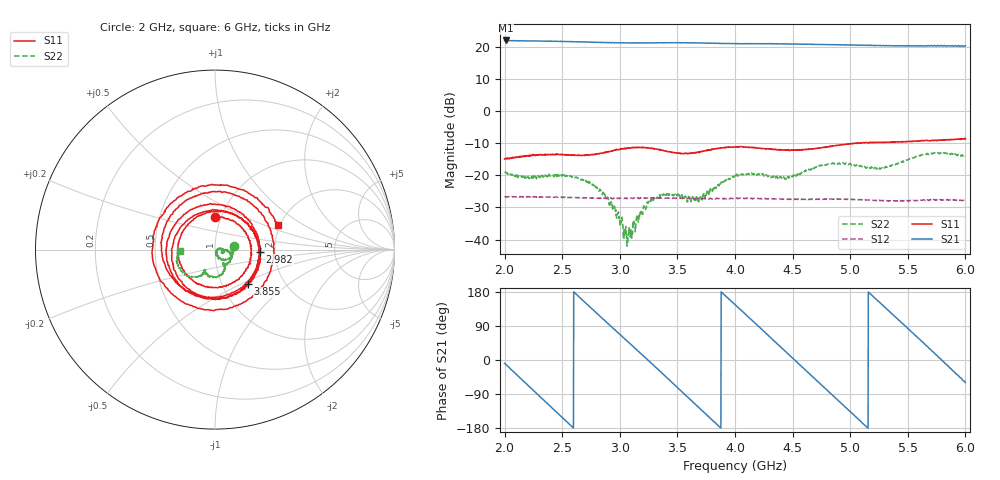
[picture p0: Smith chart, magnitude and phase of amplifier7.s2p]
#  HZ  S  DB  R  50.00
! Rohde & Schwarz ZVA24 4Ports - Version 3.60 - 1145.1110k28 SN: 101513
! Date: 2019-09-25 19:33:39
! Measurements: S33 S43 S34 S44
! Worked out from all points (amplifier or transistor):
!   1601 points, 2 GHz to 6 GHz, reference 50 ohm
!   highest |S21| = 22.1 dB at 2.01 GHz (marker M1)
!   |S21| within 3 dB of that: start of sweep to end of sweep
!   unconditionally stable (mu >= 1): start of sweep to end of sweep
!   at 2.665 GHz: K = 1.15, MAG = 22.0 dB, |S12| = -27.0 dB
!   at 4 GHz: K = 1.15, MAG = 21.8 dB, |S12| = -27.2 dB
!   at 6 GHz: K = 1.11, MAG = 22.1 dB, |S12| = -27.8 dB
!   S11 on the Smith chart (normalised r, x): 2 GHz: 0.94, +0.35; 2.982 GHz: 1.67, -0.04; 3.855 GHz: 1.32, -0.55; 6 GHz: 1.96, +0.62
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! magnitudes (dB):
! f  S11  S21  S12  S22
! 2 GHz  -14.9  22.1  -26.7  -19.2
! 2.01 GHz  -14.7  22.1  -26.6  -19.1
! 2.195 GHz  -13.9  22.0  -26.6  -20.5
! 2.5 GHz  -13.5  21.8  -26.8  -19.9
! 2.667 GHz  -13.8  21.7  -27.0  -21.3
! 2.848 GHz  -13.0  21.5  -27.0  -25.9
! 2.982 GHz  -12.0  21.3  -27.1  -31.8
! 3.05 GHz  -11.7  21.3  -27.2  -36.4
! 3.08 GHz  -11.4  21.3  -27.2  -36.3
! 3.228 GHz  -11.4  21.4  -27.1  -30.0
! 3.335 GHz  -11.9  21.4  -27.0  -27.1
! 3.425 GHz  -12.6  21.4  -27.1  -26.2
! 3.695 GHz  -12.7  21.3  -27.2  -26.4
! 3.855 GHz  -11.5  21.2  -27.3  -22.9
! 4 GHz  -11.2  21.1  -27.2  -20.1
! 4.16 GHz  -11.2  21.1  -27.2  -19.6
! 4.425 GHz  -12.0  21.0  -27.4  -20.7
! 4.668 GHz  -11.8  20.9  -27.4  -17.8
! 4.86 GHz  -10.8  20.8  -27.5  -16.4
! 5.335 GHz  -9.7  20.5  -27.9  -17.2
! 5.652 GHz  -9.1  20.4  -27.9  -13.6
! 6 GHz  -8.5  20.4  -27.8  -14.1
